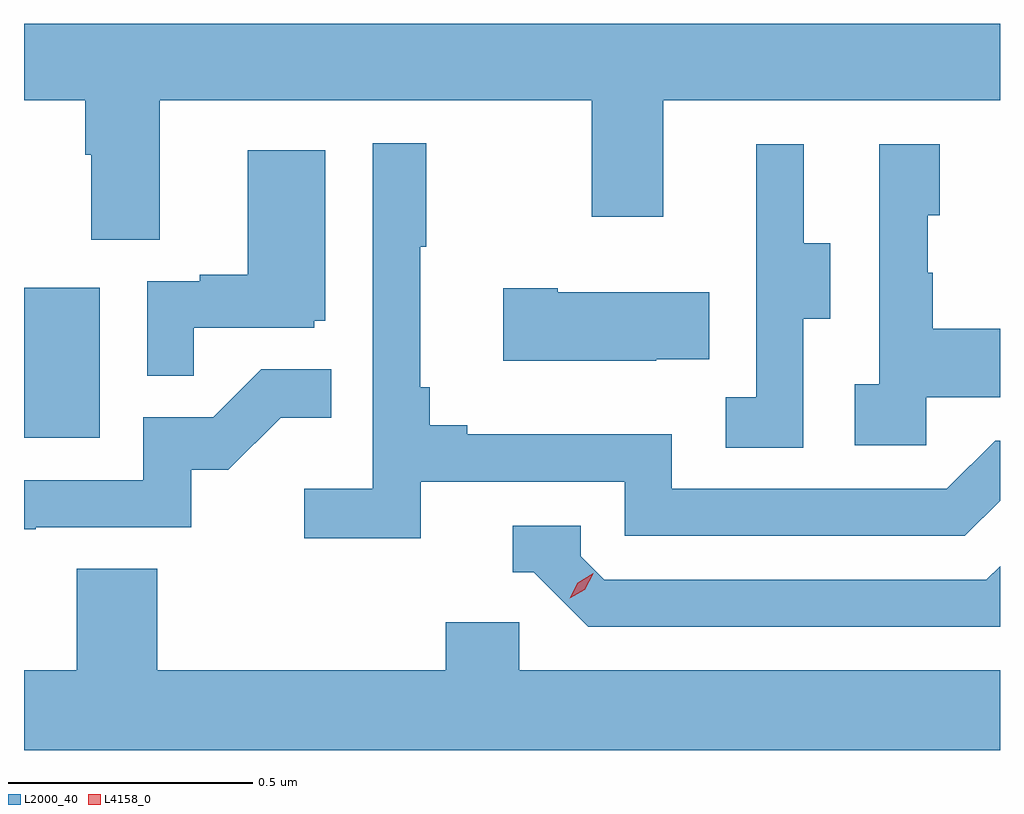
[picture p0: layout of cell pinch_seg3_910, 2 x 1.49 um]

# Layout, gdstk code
import gdstk
lib = gdstk.Library(unit=1e-6, precision=1e-09)
def R(c, l, rs):  # rectangles x0, y0, x1, y1
    for r in rs: c.add(gdstk.rectangle(r[:2], r[2:], *l))
def P(c, l, *ps):  # polygons
    for p in ps: c.add(gdstk.Polygon(p, *l))
L2000_40 = (2000, 40)
L4158_0 = (4158, 0)

pinch_seg3_910 = lib.new_cell('pinch_seg3_910')
R(pinch_seg3_910, L2000_40, [(885.941,696.228,886.096,696.535)])
P(pinch_seg3_910, L2000_40, [(886.219,696.92),(887.104,696.92),(887.104,696.681),(887.251,696.681),(887.251,696.92),(887.941,696.92),(887.941,697.076),(885.941,697.076),(885.941,696.92),(886.067,696.92),(886.067,696.808),(886.079,696.808),(886.079,696.634),(886.219,696.634)],
  [(886.754,696.138),(887.172,696.138),(887.172,696.027),(887.869,696.027),(887.941,696.099),(887.941,696.222),(887.931,696.222),(887.832,696.123),(887.268,696.123),(887.268,696.235),(886.849,696.235),(886.849,696.254),(886.772,696.254),(886.772,696.331),(886.753,696.331),(886.753,696.619),(886.765,696.619),(886.765,696.832),(886.656,696.832),(886.656,696.124),(886.515,696.124),(886.515,696.022),(886.754,696.022)],
  [(887.79,696.311),(887.941,696.311),(887.941,696.451),(887.803,696.451),(887.803,696.566),(887.793,696.566),(887.793,696.684),(887.818,696.684),(887.818,696.829),(887.694,696.829),(887.694,696.338),(887.643,696.338),(887.643,696.213),(887.79,696.213)],
  [(887.538,696.472),(887.593,696.472),(887.593,696.627),(887.539,696.627),(887.539,696.829),(887.441,696.829),(887.441,696.615),(887.442,696.615),(887.442,696.311),(887.379,696.311),(887.379,696.208),(887.538,696.208)],
  [(886.289,696.453),(886.536,696.453),(886.536,696.468),(886.558,696.468),(886.558,696.817),(886.4,696.817),(886.4,696.562),(886.301,696.562),(886.301,696.549),(886.194,696.549),(886.194,696.355),(886.289,696.355)],
  [(887.237,696.389),(887.345,696.389),(887.345,696.526),(887.035,696.526),(887.035,696.534),(886.923,696.534),(886.923,696.386),(887.237,696.386)],
  [(885.965,696.045),(886.284,696.045),(886.284,696.162),(886.36,696.162),(886.467,696.269),(886.571,696.269),(886.571,696.368),(886.427,696.368),(886.329,696.27),(886.185,696.27),(886.185,696.141),(885.941,696.141),(885.941,696.04),(885.965,696.04)],
  [(887.941,695.965),(887.913,695.937),(887.13,695.937),(887.082,695.985),(887.082,696.048),(886.943,696.048),(886.943,695.952),(886.986,695.952),(887.097,695.841),(887.941,695.841)],
  [(887.941,695.752),(886.956,695.752),(886.956,695.85),(886.805,695.85),(886.805,695.752),(886.214,695.752),(886.214,695.96),(886.049,695.96),(886.049,695.752),(885.941,695.752),(885.941,695.588),(887.941,695.588)])
P(pinch_seg3_910, L4158_0, [(887.059,695.899),(887.059,695.899),(887.076,695.931),(887.107,695.95),(887.107,695.95),(887.107,695.949),(887.09,695.917),(887.059,695.899)])

lib.write_gds('pinch_seg3_910.gds')
